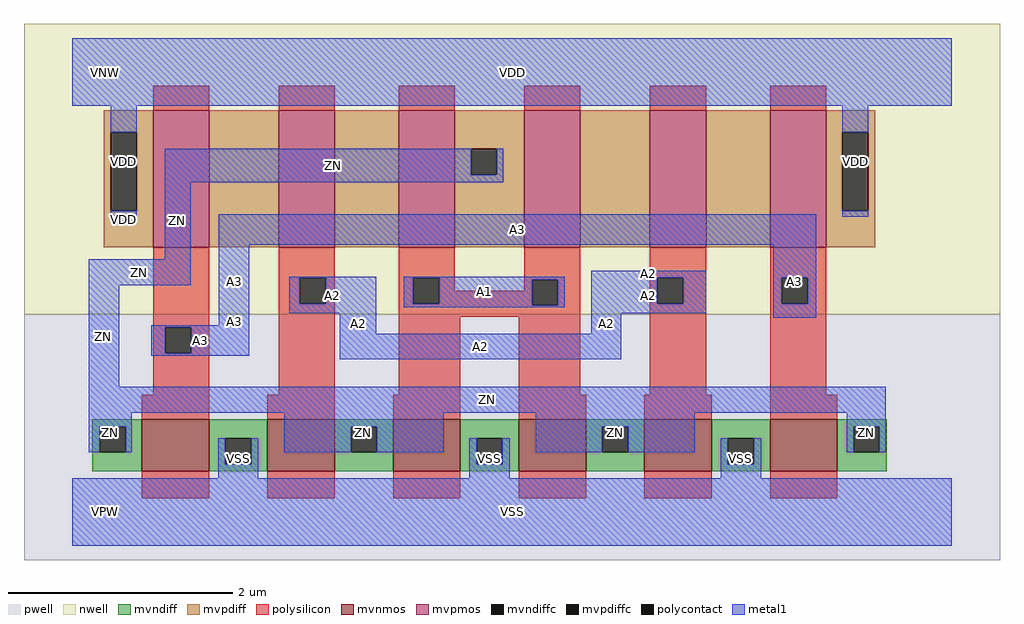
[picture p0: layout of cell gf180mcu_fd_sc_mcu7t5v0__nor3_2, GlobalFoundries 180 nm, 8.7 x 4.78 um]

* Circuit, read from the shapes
.subckt gf180mcu_fd_sc_mcu7t5v0__nor3_2 A1 A2 A3 ZN VDD VNW VPW VSS
XM1 VSS A3 ZN VPW nfet_06v0 w=0.465u l=0.6u m=2
XM2 ZN A2 VSS VPW nfet_06v0 w=0.465u l=0.6u m=2
XM3 VSS A1 ZN VPW nfet_06v0 w=0.465u l=0.6u m=2
XM4 n1 A3 VDD VNW pfet_06v0 w=1.22u l=0.5u
XM5 n2 A2 n1 VNW pfet_06v0 w=1.22u l=0.5u
XM6 ZN A1 n2 VNW pfet_06v0 w=1.22u l=0.5u
XM7 n3 A1 ZN VNW pfet_06v0 w=1.22u l=0.5u
XM8 n4 A2 n3 VNW pfet_06v0 w=1.22u l=0.5u
XM9 VDD A3 n4 VNW pfet_06v0 w=1.22u l=0.5u
.ends

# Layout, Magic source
magic
tech gf180mcuD
magscale 1 10
<< nwell >>
rect -86 352 1654 870
<< pwell >>
rect -86 -86 1654 352
<< mvnmos >>
rect 124 72 244 165
rect 348 72 468 165
rect 572 72 692 165
rect 796 72 916 165
rect 1020 72 1140 165
rect 1244 72 1364 165
<< mvpmos >>
rect 144 472 244 716
rect 368 472 468 716
rect 582 472 682 716
rect 806 472 906 716
rect 1030 472 1130 716
rect 1244 472 1344 716
<< mvndiff >>
rect 36 152 124 165
rect 36 106 49 152
rect 95 106 124 152
rect 36 72 124 106
rect 244 131 348 165
rect 244 85 273 131
rect 319 85 348 131
rect 244 72 348 85
rect 468 152 572 165
rect 468 106 497 152
rect 543 106 572 152
rect 468 72 572 106
rect 692 131 796 165
rect 692 85 721 131
rect 767 85 796 131
rect 692 72 796 85
rect 916 152 1020 165
rect 916 106 945 152
rect 991 106 1020 152
rect 916 72 1020 106
rect 1140 131 1244 165
rect 1140 85 1169 131
rect 1215 85 1244 131
rect 1140 72 1244 85
rect 1364 152 1452 165
rect 1364 106 1393 152
rect 1439 106 1452 152
rect 1364 72 1452 106
<< mvpdiff >>
rect 56 677 144 716
rect 56 537 69 677
rect 115 537 144 677
rect 56 472 144 537
rect 244 472 368 716
rect 468 472 582 716
rect 682 647 806 716
rect 682 601 711 647
rect 757 601 806 647
rect 682 472 806 601
rect 906 472 1030 716
rect 1130 472 1244 716
rect 1344 677 1432 716
rect 1344 537 1373 677
rect 1419 537 1432 677
rect 1344 472 1432 537
<< mvndiffc >>
rect 49 106 95 152
rect 273 85 319 131
rect 497 106 543 152
rect 721 85 767 131
rect 945 106 991 152
rect 1169 85 1215 131
rect 1393 106 1439 152
<< mvpdiffc >>
rect 69 537 115 677
rect 711 601 757 647
rect 1373 537 1419 677
<< polysilicon >>
rect 144 716 244 760
rect 368 716 468 760
rect 582 716 682 760
rect 806 716 906 760
rect 1030 716 1130 760
rect 1244 716 1344 760
rect 144 329 244 472
rect 144 283 166 329
rect 212 283 244 329
rect 144 209 244 283
rect 368 417 468 472
rect 368 371 406 417
rect 452 371 468 417
rect 368 209 468 371
rect 582 417 682 472
rect 582 371 608 417
rect 654 394 682 417
rect 806 414 906 472
rect 806 394 820 414
rect 654 371 820 394
rect 582 368 820 371
rect 866 368 906 414
rect 582 348 906 368
rect 582 209 692 348
rect 124 165 244 209
rect 348 165 468 209
rect 572 165 692 209
rect 796 209 906 348
rect 1030 417 1130 472
rect 1030 371 1043 417
rect 1089 371 1130 417
rect 1030 209 1130 371
rect 1244 417 1344 472
rect 1244 371 1265 417
rect 1311 371 1344 417
rect 1244 209 1344 371
rect 796 165 916 209
rect 1020 165 1140 209
rect 1244 165 1364 209
rect 124 24 244 72
rect 348 24 468 72
rect 572 24 692 72
rect 796 24 916 72
rect 1020 24 1140 72
rect 1244 24 1364 72
<< polycontact >>
rect 166 283 212 329
rect 406 371 452 417
rect 608 371 654 417
rect 820 368 866 414
rect 1043 371 1089 417
rect 1265 371 1311 417
<< metal1 >>
rect 0 724 1568 844
rect 69 677 115 724
rect 1373 677 1419 724
rect 69 518 115 537
rect 165 601 711 647
rect 757 601 768 647
rect 165 588 768 601
rect 165 450 211 588
rect 29 404 211 450
rect 261 476 1326 531
rect 1373 526 1419 537
rect 29 223 84 404
rect 261 333 316 476
rect 387 417 542 419
rect 387 371 406 417
rect 452 371 542 417
rect 387 354 542 371
rect 591 417 878 419
rect 591 371 608 417
rect 654 414 878 417
rect 654 371 820 414
rect 591 368 820 371
rect 866 368 878 414
rect 591 365 878 368
rect 925 417 1130 430
rect 925 371 1043 417
rect 1089 371 1130 417
rect 141 329 316 333
rect 141 283 166 329
rect 212 283 316 329
rect 141 278 316 283
rect 477 318 542 354
rect 925 354 1130 371
rect 1250 417 1326 476
rect 1250 371 1265 417
rect 1311 371 1326 417
rect 925 318 979 354
rect 1250 346 1326 371
rect 477 272 979 318
rect 29 177 1450 223
rect 29 152 106 177
rect 29 106 49 152
rect 95 106 106 152
rect 378 152 662 177
rect 260 85 273 131
rect 319 85 332 131
rect 378 106 497 152
rect 543 106 662 152
rect 826 152 1110 177
rect 260 60 332 85
rect 708 85 721 131
rect 767 85 780 131
rect 826 106 945 152
rect 991 106 1110 152
rect 1381 152 1450 177
rect 708 60 780 85
rect 1156 85 1169 131
rect 1215 85 1228 131
rect 1381 106 1393 152
rect 1439 106 1450 152
rect 1156 60 1228 85
rect 0 -60 1568 60
<< labels >>
flabel metal1 s 261 476 1326 531 0 FreeSans 400 0 0 0 A3
port 3 nsew default input
flabel metal1 s 0 724 1568 844 0 FreeSans 400 0 0 0 VDD
port 5 nsew power bidirectional abutment
flabel metal1 s 1156 60 1228 131 0 FreeSans 400 0 0 0 VSS
port 8 nsew ground bidirectional abutment
flabel metal1 s 165 588 768 647 0 FreeSans 400 0 0 0 ZN
port 4 nsew default output
flabel metal1 s 591 365 878 419 0 FreeSans 400 0 0 0 A1
port 1 nsew default input
flabel metal1 s 925 419 1130 430 0 FreeSans 400 0 0 0 A2
port 2 nsew default input
flabel nwell s 10 734 110 834 0 FreeSans 400 0 0 0 VNW
port 6 nsew power bidirectional
flabel pwell s 10 -50 110 50 0 FreeSans 400 0 0 0 VPW
port 7 nsew ground bidirectional
rlabel metal1 s 925 354 1130 419 1 A2
port 2 nsew default input
rlabel metal1 s 387 354 542 419 1 A2
port 2 nsew default input
rlabel metal1 s 925 318 979 354 1 A2
port 2 nsew default input
rlabel metal1 s 477 318 542 354 1 A2
port 2 nsew default input
rlabel metal1 s 477 272 979 318 1 A2
port 2 nsew default input
rlabel metal1 s 1250 346 1326 476 1 A3
port 3 nsew default input
rlabel metal1 s 261 346 316 476 1 A3
port 3 nsew default input
rlabel metal1 s 261 333 316 346 1 A3
port 3 nsew default input
rlabel metal1 s 141 278 316 333 1 A3
port 3 nsew default input
rlabel metal1 s 165 450 211 588 1 ZN
port 4 nsew default output
rlabel metal1 s 29 404 211 450 1 ZN
port 4 nsew default output
rlabel metal1 s 29 223 84 404 1 ZN
port 4 nsew default output
rlabel metal1 s 29 177 1450 223 1 ZN
port 4 nsew default output
rlabel metal1 s 1381 106 1450 177 1 ZN
port 4 nsew default output
rlabel metal1 s 826 106 1110 177 1 ZN
port 4 nsew default output
rlabel metal1 s 378 106 662 177 1 ZN
port 4 nsew default output
rlabel metal1 s 29 106 106 177 1 ZN
port 4 nsew default output
rlabel metal1 s 1373 526 1419 724 1 VDD
port 5 nsew power bidirectional abutment
rlabel metal1 s 69 526 115 724 1 VDD
port 5 nsew power bidirectional abutment
rlabel metal1 s 69 518 115 526 1 VDD
port 5 nsew power bidirectional abutment
rlabel metal1 s 708 60 780 131 1 VSS
port 8 nsew ground bidirectional abutment
rlabel metal1 s 260 60 332 131 1 VSS
port 8 nsew ground bidirectional abutment
rlabel metal1 s 0 -60 1568 60 1 VSS
port 8 nsew ground bidirectional abutment
<< properties >>
string FIXED_BBOX 0 0 1568 784
string GDS_END 754848
string GDS_FILE $PDKPATH/libs.ref/gf180mcu_fd_sc_mcu7t5v0/gds/gf180mcu_fd_sc_mcu7t5v0.gds
string GDS_START 750976
string LEFclass core
string LEFsite GF018hv5v_mcu_sc7
string LEFsymmetry X Y
<< end >>
